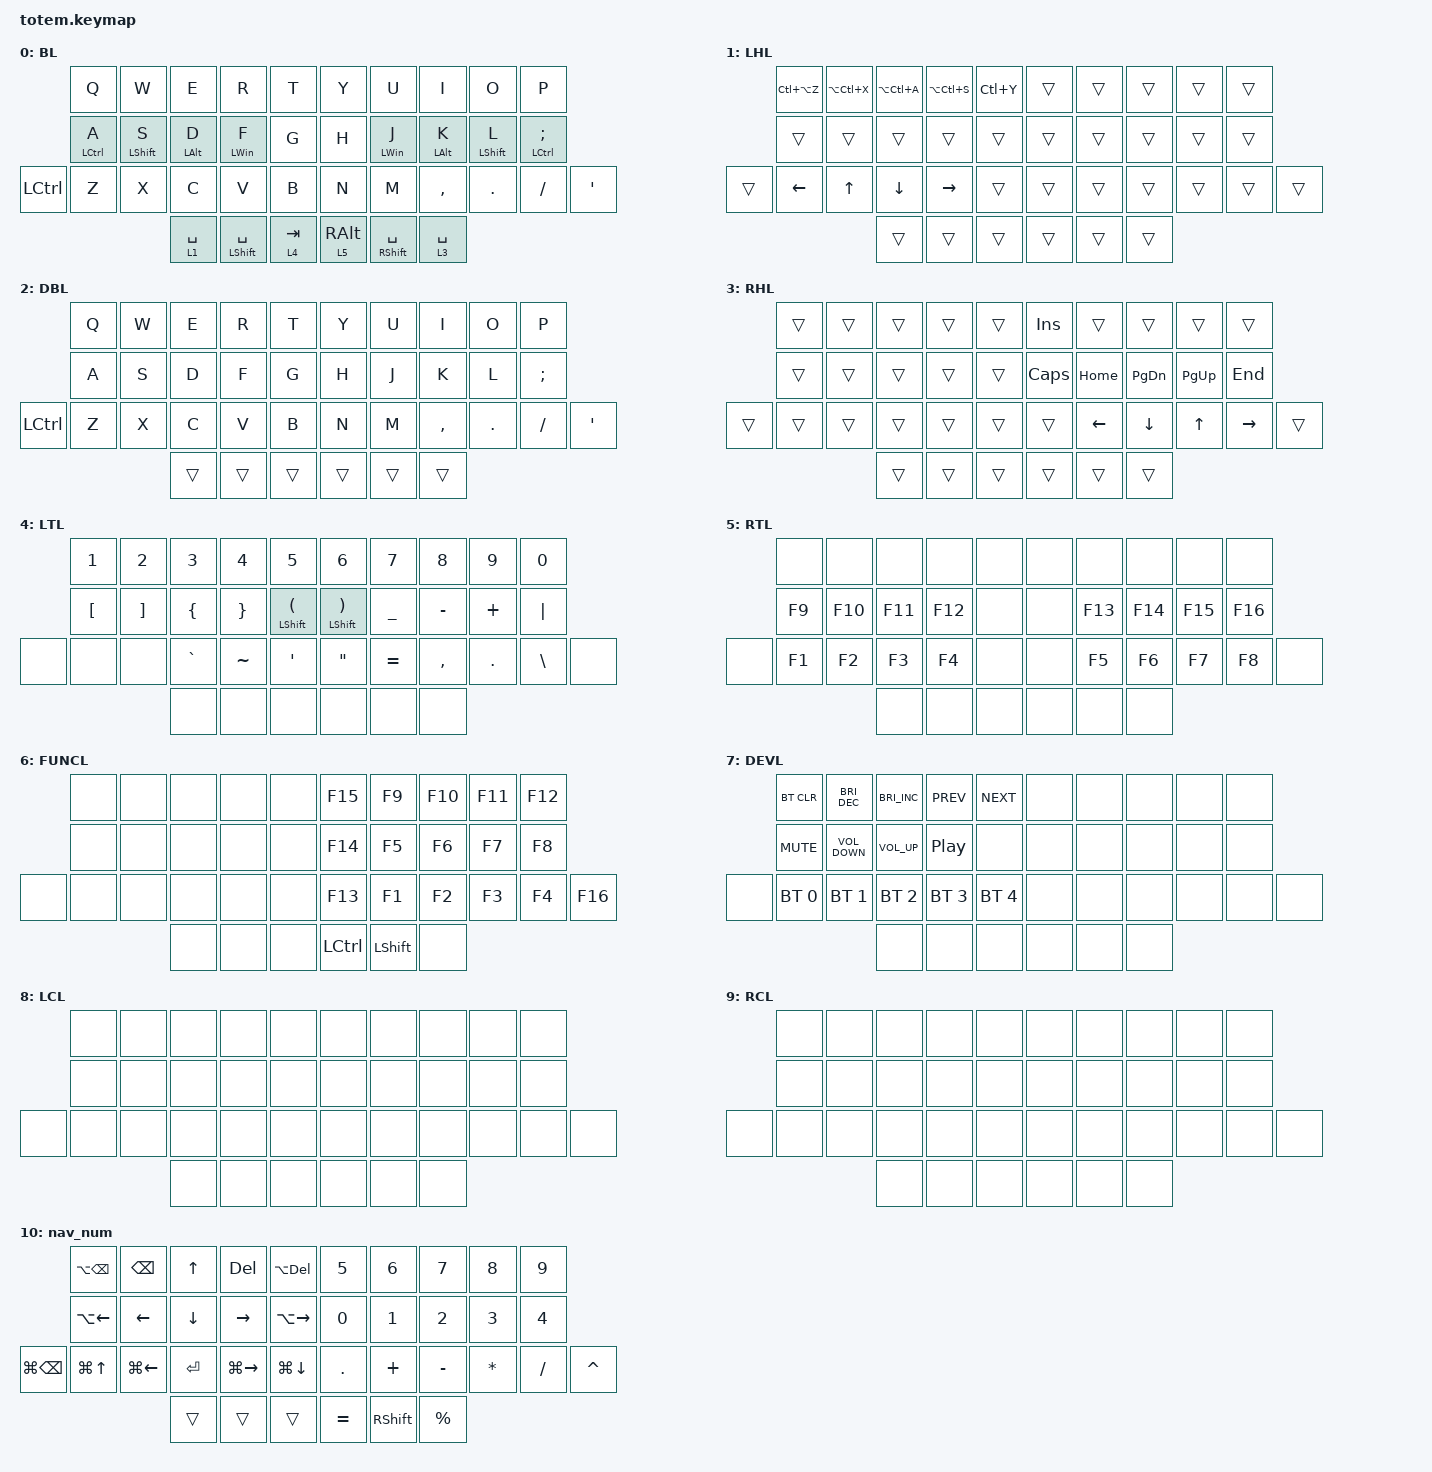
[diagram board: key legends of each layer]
//
//                                                        ▀▀▀▀▀     ▀▀▀▀▀          ▀▀█▀▀
//                                                        ▄▀▀▀▄  ▄  ▄▀▀▀▄  ▄  ▄▀▀▀▄  █  ▄▀▀▀▄
//                                                        █   █  █  █   █  █  █   █  █  █   █
//                                                         ▀▀▀   █   ▀▀▀   █   ▀▀▀   ▀   ▀▀▀
//                                                               █      ▄▄▄█▄▄▄    █   █  
//                                                               ▀      █  █  █     █▄█
//                                                             ▀▀▀▀▀    █  █  █      ▀
//                                                                      ▀  ▀  ▀
//
// ▄▄▄▄▄▄▄▄▄▄▄▄▄▄▄▄▄▄▄▄▄▄▄▄▄▄▄▄▄▄▄▄▄▄▄▄▄▄▄▄▄▄▄▄▄▄▄▄▄▄▄▄▄▄▄▄▄▄▄▄▄▄▄▄▄▄▄▄▄▄▄▄▄▄▄▄▄▄▄▄▄▄▄▄▄▄▄▄▄▄▄▄▄▄▄▄▄▄▄▄▄▄▄▄▄▄▄▄▄▄▄▄▄▄▄▄▄▄▄▄▄▄▄▄▄▄▄▄▄▄▄▄▄▄▄▄▄▄▄▄▄▄▄▄▄▄▄▄▄

#include <behaviors.dtsi>
#include <dt-bindings/zmk/bt.h>
#include <dt-bindings/zmk/keys.h>
#include <dt-bindings/zmk/pointing.h>

&soft_off { hold-time-ms = <2000>; };

/ {
    quick_tab: quick_tab {
        compatible = "zmk,behavior-hold-tap";
        label = "QUICK_TAB";
        bindings = <&kp>, <&kp>;

        #binding-cells = <2>;
        tapping-term-ms = <250>;
        flavor = "balanced";
        quick-tap-ms = <150>;
    };

    layer_quick_tab: layer_quick_tab {
        compatible = "zmk,behavior-hold-tap";
        label = "LAYER_QUICK_TAB";
        bindings = <&mo>, <&kp>;

        #binding-cells = <2>;
        tapping-term-ms = <150>;
        flavor = "balanced";
        retro-tap;
    };

    mouse_click_key: mouse_click_key {
        compatible = "zmk,behavior-hold-tap";
        label = "MOUSE_CLICK_KEY";
        bindings = <&mkp>, <&mkp>;

        #binding-cells = <2>;
        tapping-term-ms = <150>;
    };

    knob_mouse_scroll: knob_mouse_scroll {
        compatible = "zmk,behavior-sensor-rotate";
        label = "KNOB_MOUSE_SCROLL";
        #sensor-binding-cells = <0>;
        bindings = <&msc SCRL_DOWN>, <&msc SCRL_UP>;
    };

    mouse_click_tab_dance: mouse_click_tab_dance {
        compatible = "zmk,behavior-tap-dance";
        label = "MOUSE_CLICK_TAB_DANCE";
        #binding-cells = <0>;
        bindings = <&mkp LCLK>, <&mouse_click_key RCLK LCLK>;
    };

    layer_hold_tap: layer_hold_tap {
        compatible = "zmk,behavior-hold-tap";
        label = "LAYER_HOLD_TAP";
        bindings = <&mo>, <&tog>;

        #binding-cells = <2>;
        tapping-term-ms = <200>;
    };

    space_shift_homerow: space_shift_homerow {
        compatible = "zmk,behavior-hold-tap";
        label = "SPACE_SHIFT_HOMEROW";
        bindings = <&kp>, <&kp>;

        #binding-cells = <2>;
        flavor = "tap-preferred";
        tapping-term-ms = <150>;
        retro-tap;
    };

    combos {
        compatible = "zmk,combos";

        backspace_combo {
            bindings = <&kp BACKSPACE>;
            key-positions = <16 17>;
            layers = <0 4 5>;
            timeout-ms = <38>;
        };

        enter_combo {
            bindings = <&kp ENTER>;
            key-positions = <16 18>;
            layers = <0 4 5>;
            timeout-ms = <38>;
        };

        backspace2_combo {
            bindings = <&kp BACKSPACE>;
            key-positions = <13 12>;
            layers = <0 5 4>;
            timeout-ms = <38>;
        };

        enter2_combo {
            bindings = <&kp ENTER>;
            key-positions = <13 11>;
            layers = <0 5 4>;
            timeout-ms = <38>;
        };

        esc_combo {
            bindings = <&kp ESC>;
            key-positions = <2 1>;
            layers = <0 5>;
            timeout-ms = <38>;
        };

        delete_combo {
            bindings = <&kp DEL>;
            key-positions = <27 28>;
            timeout-ms = <38>;
            layers = <0 4 5>;
        };

        delete_combo2 {
            bindings = <&kp DEL>;
            key-positions = <24 23>;
            timeout-ms = <38>;
            layers = <0 5 4>;
        };

        win+e_combo {
            bindings = <&kp LG(E)>;
            key-positions = <2 1>;
            layers = <1>;
        };

        win+r_combo {
            bindings = <&kp LG(R)>;
            key-positions = <3 2>;
            layers = <1>;
        };

        win+shitf+t_combo {
            bindings = <&kp LG(LS(T))>;
            key-positions = <3 4>;
            layers = <1>;
        };

        win+shift+s_combo {
            bindings = <&kp LG(LS(S))>;
            key-positions = <10 11>;
            layers = <1>;
        };

        win+v_combo {
            bindings = <&kp LG(V)>;
            key-positions = <24 23>;
            layers = <1>;
        };

        device_layer_combo {
            bindings = <&mo 7>;
            key-positions = <35 36 37>;
        };

        func_layer_combo {
            bindings = <&mo 6>;
            key-positions = <34 33 32>;
        };
    };

    behaviors {
    };

    keymap {
        compatible = "zmk,keymap";

        BL {
            bindings = <
           &kp Q               &kp W                    &kp E                     &kp R                                  &kp T                     &kp Y                    &kp U                                   &kp I                     &kp O                    &kp P
           &quick_tab LCTRL A  &quick_tab LEFT_SHIFT S  &quick_tab LEFT_ALT D     &quick_tab LEFT_WIN F                  &kp G                     &kp H                    &quick_tab LEFT_WIN J                   &quick_tab LEFT_ALT K     &quick_tab LEFT_SHIFT L  &quick_tab LCTRL SEMI
&kp LCTRL  &kp Z               &kp X                    &kp C                     &kp V                                  &kp B                     &kp N                    &kp M                                   &kp COMMA                 &kp DOT                  &kp FSLH               &kp APOS
                                                        &layer_quick_tab 1 SPACE  &space_shift_homerow LEFT_SHIFT SPACE  &layer_quick_tab 4 TAB    &layer_quick_tab 5 RALT  &space_shift_homerow RIGHT_SHIFT SPACE  &layer_quick_tab 3 SPACE
            >;
        };

        LHL {
            bindings = <
        &kp LC(LA(Z))  &kp LA(LC(X))  &kp LA(LC(A))  &kp LA(LC(S))  &kp LC(Y)    &trans  &trans  &trans  &trans  &trans
        &trans         &trans         &trans         &trans         &trans       &trans  &trans  &trans  &trans  &trans
&trans  &kp LEFT       &kp UP         &kp DOWN       &kp RIGHT      &trans       &trans  &trans  &trans  &trans  &trans  &trans
                                      &trans         &trans         &trans       &trans  &trans  &trans
            >;
        };

        DBL {
            bindings = <
           &kp Q  &kp W  &kp E   &kp R   &kp T     &kp Y   &kp U   &kp I      &kp O    &kp P
           &kp A  &kp S  &kp D   &kp F   &kp G     &kp H   &kp J   &kp K      &kp L    &kp SEMI
&kp LCTRL  &kp Z  &kp X  &kp C   &kp V   &kp B     &kp N   &kp M   &kp COMMA  &kp DOT  &kp FSLH  &kp APOS
                         &trans  &trans  &trans    &trans  &trans  &trans
            >;
        };

        RHL {
            bindings = <
        &trans  &trans  &trans  &trans  &trans    &kp INS   &trans    &trans     &trans     &trans
        &trans  &trans  &trans  &trans  &trans    &kp CAPS  &kp HOME  &kp PG_DN  &kp PG_UP  &kp END
&trans  &trans  &trans  &trans  &trans  &trans    &trans    &kp LEFT  &kp DOWN   &kp UP     &kp RIGHT  &trans
                        &trans  &trans  &trans    &trans    &trans    &trans
            >;
        };

        LTL {
            bindings = <
       &kp N1    &kp N2    &kp N3     &kp N4     &kp N5                        &kp N6                      &kp N7     &kp N8     &kp N9    &kp N0
       &kp LBKT  &kp RBKT  &kp LBRC   &kp RBRC   &quick_tab LEFT_SHIFT LPAR    &quick_tab LEFT_SHIFT RPAR  &kp UNDER  &kp MINUS  &kp PLUS  &kp PIPE
&none  &none     &none     &kp GRAVE  &kp TILDE  &kp APOS                      &kp DQT                     &kp EQUAL  &kp COMMA  &kp DOT   &kp BSLH  &none
                           &none      &none      &none                         &none                       &none      &none
            >;
        };

        RTL {
            bindings = <
       &none   &none    &none    &none    &none    &none  &none    &none    &none    &none
       &kp F9  &kp F10  &kp F11  &kp F12  &none    &none  &kp F13  &kp F14  &kp F15  &kp F16
&none  &kp F1  &kp F2   &kp F3   &kp F4   &none    &none  &kp F5   &kp F6   &kp F7   &kp F8   &none
                        &none    &none    &none    &none  &none    &none
            >;
        };

        FUNCL {
            bindings = <
       &none  &none  &none  &none  &none    &kp F15    &kp F9          &kp F10  &kp F11  &kp F12
       &none  &none  &none  &none  &none    &kp F14    &kp F5          &kp F6   &kp F7   &kp F8
&none  &none  &none  &none  &none  &none    &kp F13    &kp F1          &kp F2   &kp F3   &kp F4   &kp F16
                     &none  &none  &none    &kp LCTRL  &kp LEFT_SHIFT  &none
            >;
        };

        DEVL {
            bindings = <
       &bt BT_CLR    &kp C_BRIGHTNESS_DEC  &kp C_BRIGHTNESS_INC  &kp C_PREV        &kp C_NEXT      &none  &none  &none  &none  &none
       &kp C_MUTE    &kp C_VOLUME_DOWN     &kp C_VOLUME_UP       &kp C_PLAY_PAUSE  &none           &none  &none  &none  &none  &none
&none  &bt BT_SEL 0  &bt BT_SEL 1          &bt BT_SEL 2          &bt BT_SEL 3      &bt BT_SEL 4    &none  &none  &none  &none  &none  &none
                                           &none                 &none             &none           &none  &none  &none
            >;
        };

        LCL {
            bindings = <
       &none  &none  &none  &none  &none    &none  &none  &none  &none  &none
       &none  &none  &none  &none  &none    &none  &none  &none  &none  &none
&none  &none  &none  &none  &none  &none    &none  &none  &none  &none  &none  &none
                     &none  &none  &none    &none  &none  &none
            >;
        };

        RCL {
            bindings = <
       &none  &none  &none  &none  &none    &none  &none  &none  &none  &none
       &none  &none  &none  &none  &none    &none  &none  &none  &none  &none
&none  &none  &none  &none  &none  &none    &none  &none  &none  &none  &none  &none
                     &none  &none  &none    &none  &none  &none
            >;
        };

        nav_num {
            bindings = <
                   &kp LA(BACKSPACE)   &kp BACKSPACE  &kp UP     &kp DELETE     &kp LA(DELETE)        &kp N5      &kp N6           &kp N7       &kp N8    &kp N9
                   &kp LA(LEFT_ARROW)  &kp LEFT       &kp DOWN   &kp RIGHT      &kp LA(RIGHT)         &kp N0      &kp N1           &kp N2       &kp N3    &kp N4
&kp LG(BACKSPACE)  &kp LG(UP_ARROW)    &kp LG(LEFT)   &kp ENTER  &kp LG(RIGHT)  &kp LG(DOWN_ARROW)    &kp PERIOD  &kp PLUS         &kp MINUS    &kp STAR  &kp FSLH  &kp CARET
                                                      &trans     &trans         &trans                &kp EQUAL   &kp RIGHT_SHIFT  &kp PERCENT
            >;
        };
    };

    conditional_layers {
        compatible = "zmk,conditional-layers";

        con_device {
            if-layers = <3 5>;
            then-layer = <9>;
        };

        con_func {
            if-layers = <1 4>;
            then-layer = <8>;
        };
    };
};
